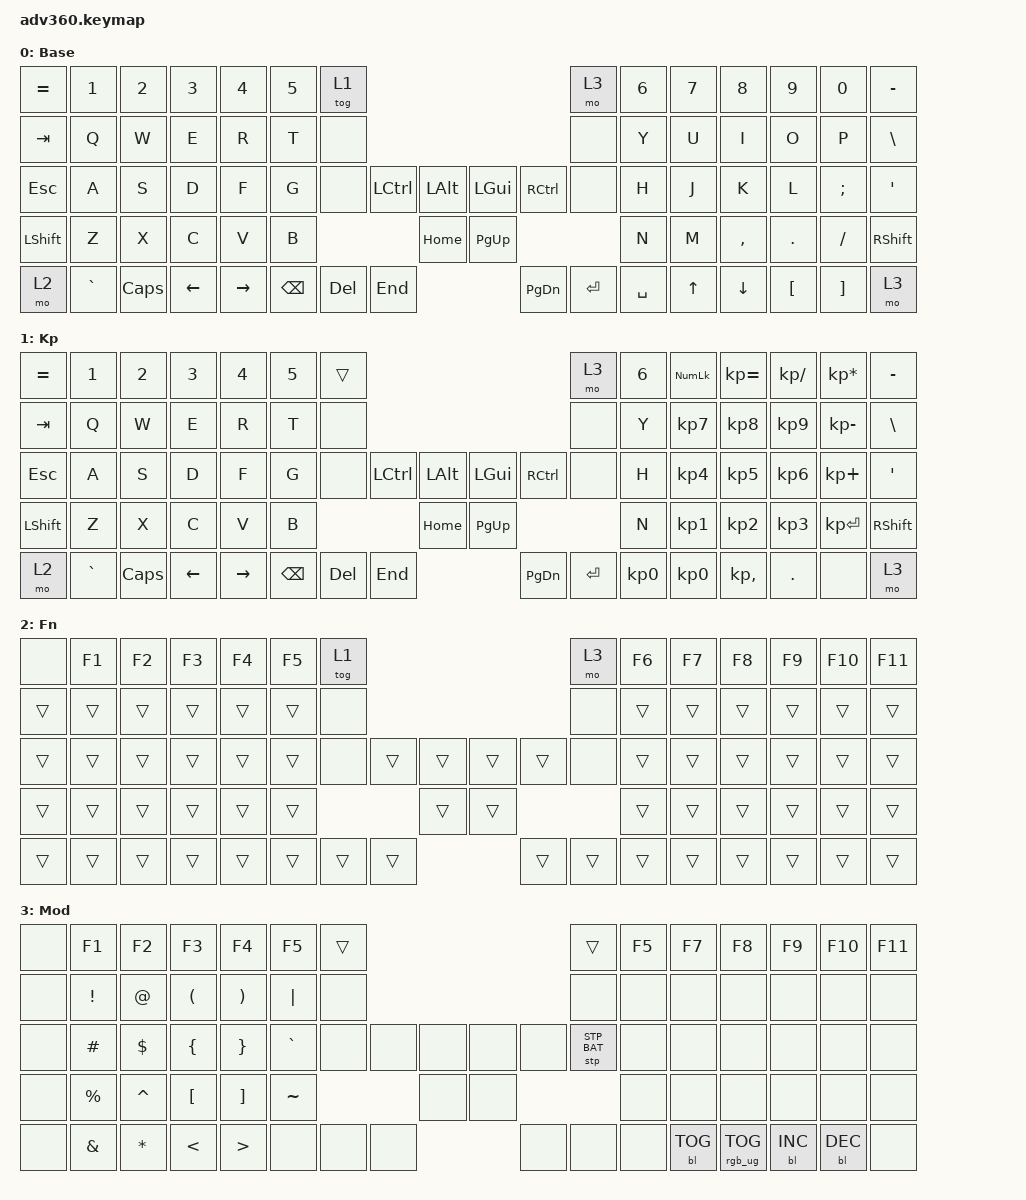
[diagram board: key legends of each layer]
#include <behaviors.dtsi>
#include <dt-bindings/zmk/keys.h>
#include <dt-bindings/zmk/bt.h>
#include <dt-bindings/zmk/rgb.h>
#include <dt-bindings/zmk/stp.h>
#include <dt-bindings/zmk/backlight.h>
#include <dt-bindings/zmk/pointing.h>

/ {
    behaviors {
      #include "macros.dtsi"
      #include "version.dtsi"

      hm: homerow_mods {
          compatible = "zmk,behavior-hold-tap";
          label = "HOMEROW_MODS";
          #binding-cells = <2>;
          tapping-term-ms = <200>;
          quick_tap_ms = <175>;
          flavor = "tap-preferred";
          bindings = <&kp>, <&kp>;
      };
    };

  keymap {
    compatible = "zmk,keymap";

    default_layer {
      display-name = "Base";
      bindings = <
        &kp EQUAL &kp N1    &kp N2    &kp N3   &kp N4     &kp N5    &tog 1                                                           &mo 3 &kp N6 &kp N7 &kp N8    &kp N9   &kp N0   &kp MINUS
        &kp TAB   &kp Q     &kp W     &kp E    &kp R      &kp T     &none                                                            &none &kp Y  &kp U  &kp I     &kp O    &kp P    &kp BSLH
        &kp ESC   &kp A     &kp S     &kp D    &kp F      &kp G     &none           &kp LCTRL &kp LALT &kp LGUI  &kp RCTRL           &none &kp H  &kp J  &kp K     &kp L    &kp SEMI &kp SQT
        &kp LSHFT &kp Z     &kp X     &kp C    &kp V      &kp B                               &kp HOME &kp PG_UP                           &kp N  &kp M  &kp COMMA &kp DOT  &kp FSLH &kp RSHFT
        &mo 2     &kp GRAVE &kp CAPS  &kp LEFT &kp RIGHT                   &kp BSPC &kp DEL   &kp END  &kp PG_DN &kp ENTER &kp SPACE              &kp UP &kp DOWN  &kp LBKT &kp RBKT &mo 3
      >;
    };
    keypad {
      display-name = "Kp";
      bindings = <
        &kp EQUAL &kp N1    &kp N2    &kp N3   &kp N4     &kp N5    &trans                                                           &mo 3 &kp N6 &kp KP_NUM &kp KP_EQUAL &kp KP_DIVIDE &kp KP_MULTIPLY &kp MINUS
        &kp TAB   &kp Q     &kp W     &kp E    &kp R      &kp T     &none                                                            &none &kp Y  &kp KP_N7  &kp KP_N8    &kp KP_N9     &kp KP_MINUS    &kp BSLH
        &kp ESC   &kp A     &kp S     &kp D    &kp F      &kp G     &none           &kp LCTRL &kp LALT &kp LGUI  &kp RCTRL           &none &kp H  &kp KP_N4  &kp KP_N5    &kp KP_N6     &kp KP_PLUS     &kp SQT
        &kp LSHFT &kp Z     &kp X     &kp C    &kp V      &kp B                               &kp HOME &kp PG_UP                           &kp N  &kp KP_N1  &kp KP_N2    &kp KP_N3     &kp KP_ENTER    &kp RSHFT
        &mo 2     &kp GRAVE &kp CAPS  &kp LEFT &kp RIGHT                   &kp BSPC &kp DEL   &kp END  &kp PG_DN &kp ENTER &kp KP_N0              &kp KP_N0  &kp KP_COMMA &kp PERIOD    &none           &mo 3
      >;
    };
    fn {
      display-name = "Fn";
      bindings = <
        &none     &kp F1    &kp F2    &kp F3   &kp F4     &kp F5    &tog 1                                                           &mo 3 &kp F6 &kp F7 &kp F8 &kp F9 &kp F10 &kp F11
        &trans    &trans    &trans    &trans   &trans     &trans    &none                                                            &none &trans &trans &trans &trans &trans  &trans
        &trans    &trans    &trans    &trans   &trans     &trans    &none                &trans &trans &trans &trans                 &none &trans &trans &trans &trans &trans  &trans
        &trans    &trans    &trans    &trans   &trans     &trans                                &trans &trans                              &trans &trans &trans &trans &trans  &trans
        &trans    &trans    &trans    &trans   &trans                             &trans &trans &trans &trans &trans &trans                       &trans &trans &trans &trans  &trans
      >;
    };
    mod {
      display-name = "Mod";
      bindings = <
        &none     &kp F1    &kp F2    &kp F3    &kp F4    &kp F5    &trans                                                          &trans       &kp F5 &kp F7 &kp F8 &kp F9 &kp F10 &kp F11
        &none     &kp EXCL  &kp AT    &kp LPAR  &kp RPAR  &kp PIPE  &none                                                           &none        &none  &none  &none  &none  &none   &none
        &none     &kp HASH  &kp DLLR  &kp LBRC  &kp RBRC  &kp GRAVE &none                 &none &none &none &none                   &stp STP_BAT &none  &none  &none  &none  &none   &none
        &none     &kp PRCNT &kp CARET &kp LBKT  &kp RBKT  &kp TILDE                             &none &none                                      &none  &none  &none  &none  &none   &none
        &none     &kp AMPS  &kp ASTRK &kp LT    &kp GT                              &none &none &none &none &none &none                                 &bl BL_TOG &rgb_ug RGB_TOG &bl BL_INC &bl BL_DEC &none
      >;
    };
    extra1 {
      display-name = "Red";
      status = "reserved";
    };

    extra2 {
      display-name = "Purple";
      status = "reserved";
    };

    extra3 {
      display-name = "Cyan";
      status = "reserved";
    };

    extra4 {
      display-name = "Yellow";
      status = "reserved";
    };
  };
};
